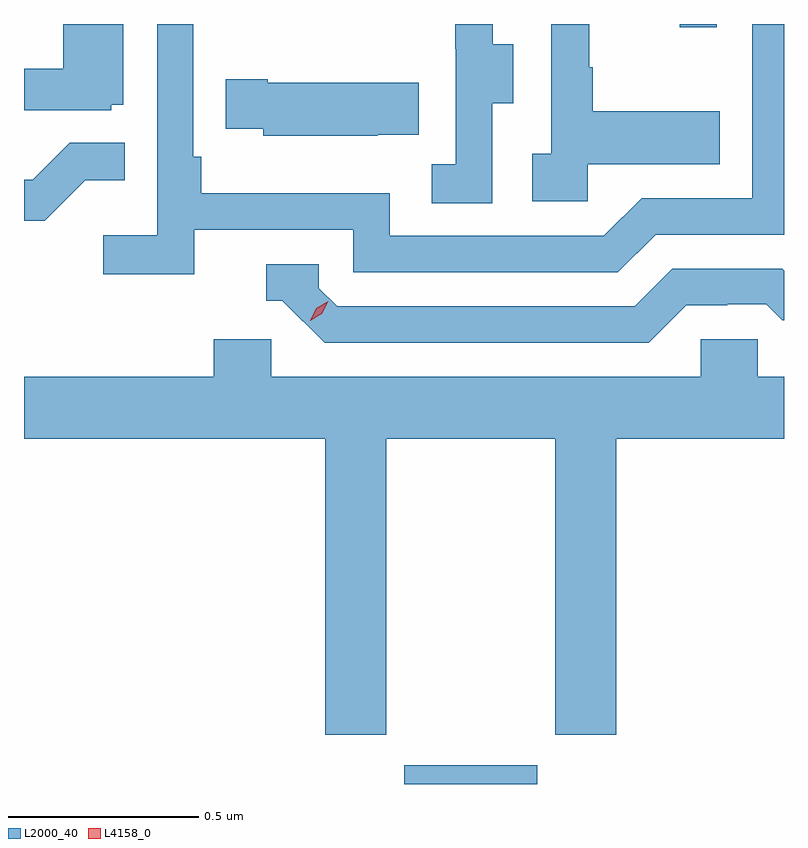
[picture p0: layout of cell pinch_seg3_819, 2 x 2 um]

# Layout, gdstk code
import gdstk
lib = gdstk.Library(unit=1e-6, precision=1e-09)
def R(c, l, rs):  # rectangles x0, y0, x1, y1
    for r in rs: c.add(gdstk.rectangle(r[:2], r[2:], *l))
def P(c, l, *ps):  # polygons
    for p in ps: c.add(gdstk.Polygon(p, *l))
L2000_40 = (2000, 40)
L4158_0 = (4158, 0)

pinch_seg3_819 = lib.new_cell('pinch_seg3_819')
R(pinch_seg3_819, L2000_40, [(886.196,713.328,886.546,713.377), (886.922,715.32,887.019,715.328)])
P(pinch_seg3_819, L2000_40, [(886.428,715.12),(886.483,715.12),(886.483,715.275),(886.429,715.275),(886.429,715.328),(886.331,715.328),(886.331,715.263),(886.332,715.263),(886.332,714.959),(886.269,714.959),(886.269,714.856),(886.428,714.856)],
  [(885.426,715.116),(885.457,715.116),(885.457,715.328),(885.299,715.328),(885.299,715.21),(885.196,715.21),(885.196,715.101),(885.426,715.101)],
  [(885.644,714.786),(886.062,714.786),(886.062,714.675),(886.759,714.675),(886.858,714.774),(887.196,714.774),(887.196,715.328),(887.112,715.328),(887.112,714.87),(886.821,714.87),(886.722,714.771),(886.158,714.771),(886.158,714.883),(885.662,714.883),(885.662,714.979),(885.642,714.979),(885.642,715.328),(885.546,715.328),(885.546,714.772),(885.405,714.772),(885.405,714.67),(885.644,714.67)],
  [(886.68,714.959),(887.027,714.959),(887.027,715.099),(886.693,715.099),(886.693,715.214),(886.683,715.214),(886.683,715.328),(886.584,715.328),(886.584,714.986),(886.533,714.986),(886.533,714.861),(886.68,714.861)],
  [(886.127,715.037),(886.235,715.037),(886.235,715.174),(885.838,715.174),(885.838,715.182),(885.727,715.182),(885.727,715.052),(885.825,715.052),(885.825,715.034),(886.127,715.034)],
  [(885.357,714.917),(885.461,714.917),(885.461,715.016),(885.317,715.016),(885.219,714.918),(885.196,714.918),(885.196,714.81),(885.25,714.81)],
  [(886.939,714.588),(887.046,714.588),(887.046,714.591),(887.149,714.591),(887.191,714.549),(887.196,714.549),(887.196,714.679),(887.191,714.684),(886.902,714.684),(886.803,714.585),(886.02,714.585),(885.972,714.633),(885.972,714.696),(885.833,714.696),(885.833,714.6),(885.876,714.6),(885.987,714.489),(886.84,714.489)],
  [(886.149,714.236),(886.594,714.236),(886.594,713.457),(886.754,713.457),(886.754,714.236),(887.196,714.236),(887.196,714.4),(887.127,714.4),(887.127,714.498),(886.977,714.498),(886.977,714.4),(885.846,714.4),(885.846,714.498),(885.695,714.498),(885.695,714.4),(885.196,714.4),(885.196,714.236),(885.989,714.236),(885.989,713.457),(886.149,713.457)])
P(pinch_seg3_819, L4158_0, [(885.949,714.547),(885.949,714.547),(885.965,714.58),(885.996,714.599),(885.996,714.599),(885.996,714.598),(885.98,714.566),(885.949,714.547)])

lib.write_gds('pinch_seg3_819.gds')
